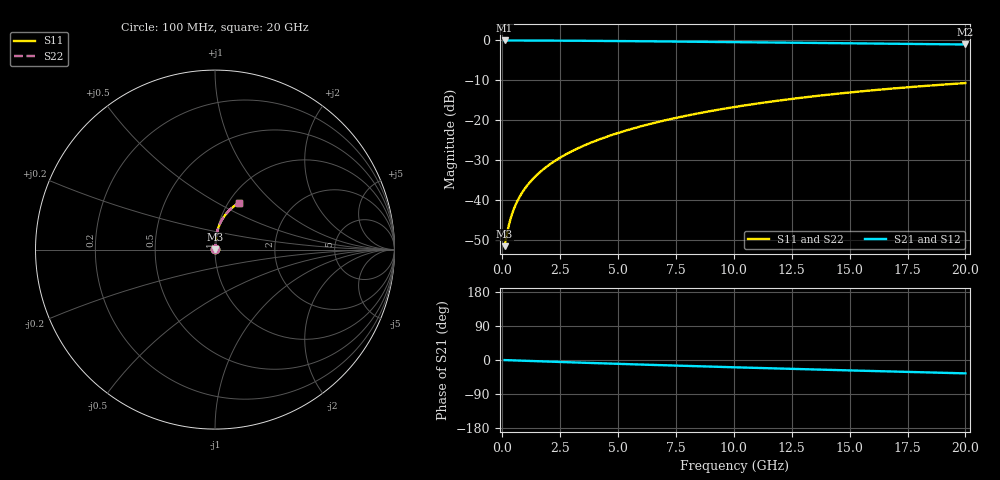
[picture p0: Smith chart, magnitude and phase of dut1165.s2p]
! Touchstone file exported from HFSS 2024.1.0
!  File:  C:/UserFiles/LocalFiles/RDL_TSV_Batchsim/temp_RDL_bottom_1165_1780056597.aedt
!  Generated:  08:12:15 PM May 29, 2026
!  Design:  RDL_bottom
!  Project:  temp_RDL_bottom_1165_1780056597
!  Setup:  Setup1
!  Solution:  Sweep
! Variables:
!  dtsv = 10.80580581um
!  hbump = 3um
!  htsv = 60.89um
!  ldown = 549.64um
!  lrdl = 100um
!  p = 40
!  p1 = 40.5um
!  rhole = 1um
!  t = 450um
!  tdown = 4.73um
!  trdl = 3.915915916um
!  wdown = 20.49um
!  wrdl = 20um
# GHz S MA R 50.000000
! Terminal data exported
! Port[1] = RDL1_T1
! Port[2] = RDL1_T2
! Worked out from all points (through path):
!   200 points, 100 MHz to 20 GHz, reference 50 ohm
!   highest |S21| = -0.02 dB at 100 MHz (marker M1); lowest = -1.0 dB at 20 GHz (marker M2)
!   group delay of S21, straight-line fit = 4.85 ps
!   lowest |S11| = -51.5 dB at 100 MHz (marker M3), VSWR 1.01, Z = 50.2 + j0.155 ohm
!   |S11| at or under -10 dB: start of sweep to end of sweep
!   |S22| runs from -51.5 to -10.7 dB; largest |S21 - S12| = 3.5e-15
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0.1  0.002668 35.3  0.9978 -0.2  0.9978 -0.2  0.002668 35.3
! Gamma 0 0 0 0
! Port Impedance 50 0 50 0
0.2  0.003807 53.4  0.9977 -0.4  0.9977 -0.4  0.003807 53.4
0.3  0.005122 62.1  0.9975 -0.7  0.9975 -0.7  0.005122 62.1
0.4  0.006469 66.9  0.9973 -0.9  0.9973 -0.9  0.006468 66.9
0.5  0.007806 69.9  0.9972 -1.1  0.9972 -1.1  0.007804 69.9
0.6  0.009126 72.1  0.997 -1.3  0.997 -1.3  0.009124 72.1
0.8  0.01173 75.1  0.9967 -1.7  0.9967 -1.7  0.01173 75.1
1.1  0.01562 78.1  0.9962 -2.3  0.9962 -2.3  0.01561 78.1
1.3  0.01821 79.5  0.9959 -2.7  0.9959 -2.7  0.01821 79.5
1.6  0.02214 81.0  0.9952 -3.4  0.9952 -3.4  0.02214 81.0
2.1  0.02878 82.7  0.9938 -4.4  0.9938 -4.4  0.02878 82.7
2.7  0.0369 83.8  0.9918 -5.6  0.9918 -5.6  0.0369 83.9
3.5  0.04797 84.6  0.9885 -7.2  0.9885 -7.2  0.04797 84.6
4.2  0.05789 84.7  0.9852 -8.6  0.9852 -8.6  0.0579 84.7
5  0.06949 84.6  0.9811 -10.2  0.9811 -10.2  0.06951 84.6
6.8  0.09651 83.3  0.9707 -13.5  0.9707 -13.5  0.09654 83.3
8.4  0.1213 81.4  0.961 -16.4  0.961 -16.4  0.1213 81.5
10.1  0.1479 79.1  0.9505 -19.4  0.9505 -19.4  0.148 79.1
11.7  0.173 76.6  0.9405 -22.1  0.9405 -22.1  0.173 76.6
13.4  0.1991 73.8  0.9299 -24.9  0.9299 -24.9  0.1992 73.8
16.7  0.2477 68.2  0.9093 -30.2  0.9093 -30.2  0.2479 68.3
20  0.2925 62.8  0.8888 -35.3  0.8888 -35.3  0.2927 62.8
